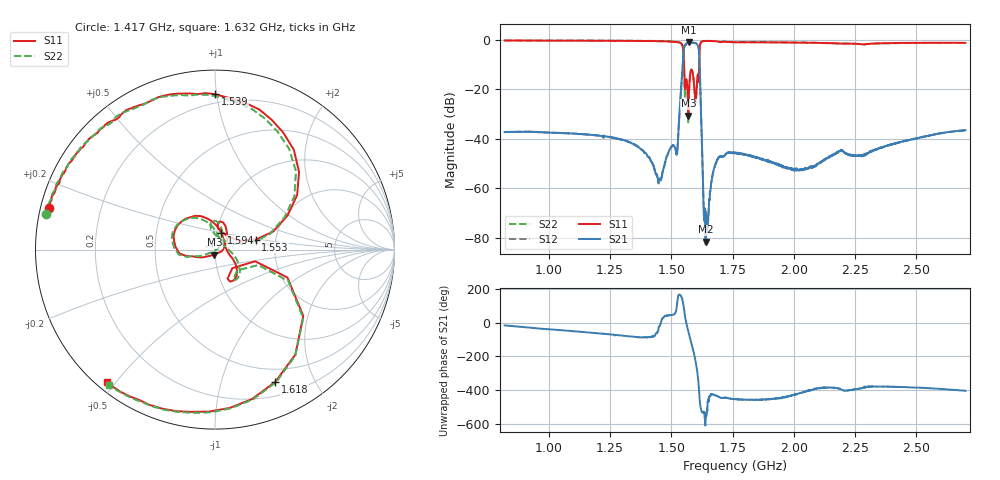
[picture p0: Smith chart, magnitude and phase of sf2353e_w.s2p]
# Hz S RI R 50
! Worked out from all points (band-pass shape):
!   1601 points, 820 MHz to 2.7 GHz, reference 50 ohm
!   highest |S21| = -0.88 dB at 1.572 GHz (marker M1); lowest = -81.6 dB at 1.64 GHz (marker M2)
!   |S21| within 3 dB of the highest: 1.552 GHz to 1.612 GHz (60.93 MHz wide, 3.85 % of centre)
!   lowest |S11| = -30.7 dB at 1.57 GHz (marker M3), VSWR 1.06, Z = 49.6 - j2.89 ohm
!   |S11| at or under -10 dB: 1.552 GHz to 1.614 GHz (61.45 MHz wide, 3.88 % of centre)
!   |S22| runs from -33.7 to -0.2 dB; largest |S21 - S12| = 0.0035
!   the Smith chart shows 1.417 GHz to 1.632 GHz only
!   S11 on the Smith chart (normalised r, x): 1.417 GHz: 0.02, +0.12; 1.539 GHz: 0.14, +0.99; 1.553 GHz: 1.57, +0.18; 1.594 GHz: 1.05, +0.20; 1.618 GHz: 0.35, -1.50; 1.632 GHz: 0.03, -0.47
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8.2e8  -0.3025 -0.9332  0.0131 -0.00383  0.0132 -0.00376  -0.2923 -0.9358
1.133725e9  -0.8312 -0.5012  0.00726 -0.0102  0.00722 -0.0102  -0.8226 -0.5268
1.4169e9  -0.9275 0.233  0.000273 -0.00355  0.00031 -0.0035  -0.9428 0.1972
1.44745e9  -0.881 0.3532  0.00101 -0.00077  0.00101 -0.00086  -0.9029 0.3166
1.5203e9  -0.4898 0.7798  0.00131 0.00476  0.00141 0.00484  -0.5326 0.7522
1.5391e9  -0.000313 0.8662  -0.0824 0.0312  -0.0823 0.031  -0.0462 0.8631
1.5532e9  0.2268 0.0551  0.3035 0.6655  0.3033 0.6671  0.2008 0.0359
1.5626e9  0.0451 0.1509  0.8518 -0.1517  0.851 -0.1518  0.00577 0.1597
1.56965e9  -0.00331 -0.0291  0.5479 -0.7042  0.548 -0.7035  -0.0188 -0.0149
1.572e9  -0.0696 -0.0437  0.3602 -0.8287  0.3604 -0.8259  -0.0774 -0.0347
1.5814e9  -0.223 0.109  -0.4158 -0.7793  -0.4167 -0.7796  -0.2364 0.0946
1.594325e9  0.0348 0.0932  -0.8513 0.2255  -0.8534 0.2241  0.00456 0.1031
1.601375e9  0.0735 -0.0174  -0.3214 0.7927  -0.321 0.7933  0.0624 0.0104
1.608425e9  0.1051 -0.1716  0.5993 0.4845  0.6005 0.4854  0.1301 -0.1553
1.617825e9  0.3363 -0.7363  -0.084 -0.1137  -0.0838 -0.1137  0.3401 -0.7391
1.631925e9  -0.6022 -0.7392  -0.000392 -5.19e-05  -0.000472 -0.000125  -0.5887 -0.7541
1.64015e9  -0.7774 -0.5649  -5.88e-05 5.84e-05  -2.59e-05 6.2e-05  -0.768 -0.5839
1.6848e9  -0.9426 -0.0119  0.000889 -0.00337  0.000872 -0.00344  -0.9486 -0.0422
1.76e9  -0.8505 0.3034  -0.000453 -0.00531  -0.000473 -0.00524  -0.8691 0.2704
2.073725e9  -0.3914 0.7889  0.00194 -0.00168  0.00202 -0.00164  -0.4347 0.7672
2.38745e9  0.0938 0.8611  0.00698 -0.00268  0.00691 -0.00253  0.035 0.8619
2.7e9  0.5992 0.6409  0.0106 -0.0106  0.0106 -0.0106  0.538 0.6874
